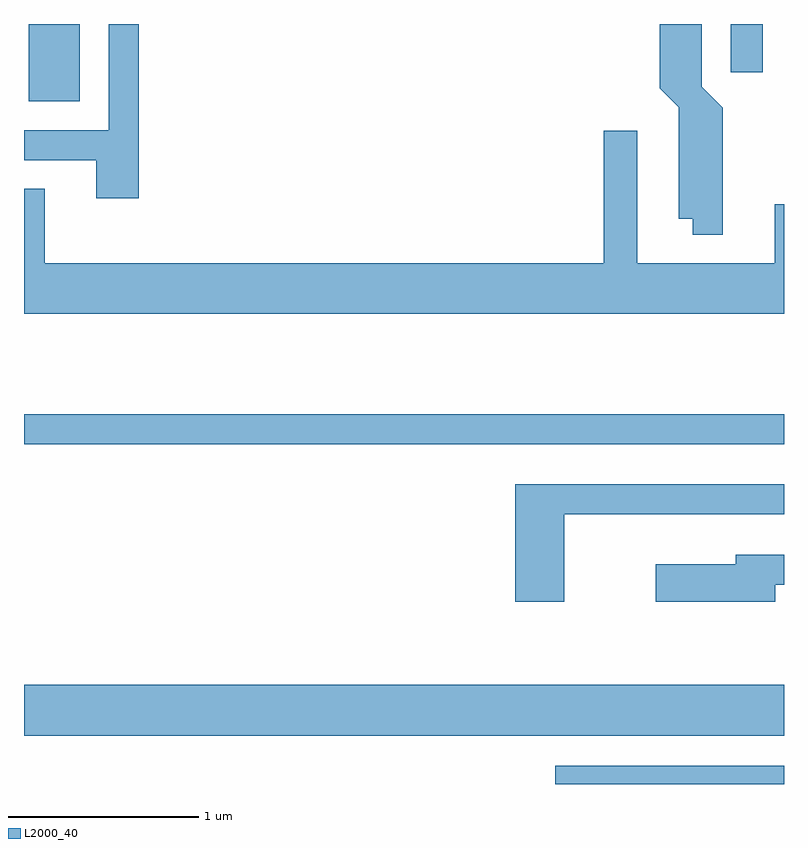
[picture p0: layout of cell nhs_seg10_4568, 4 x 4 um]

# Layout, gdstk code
import gdstk
lib = gdstk.Library(unit=1e-6, precision=1e-09)
def R(c, l, rs):  # rectangles x0, y0, x1, y1
    for r in rs: c.add(gdstk.rectangle(r[:2], r[2:], *l))
def P(c, l, *ps):  # polygons
    for p in ps: c.add(gdstk.Polygon(p, *l))
L2000_40 = (2000, 40)

nhs_seg10_4568 = lib.new_cell('nhs_seg10_4568')
R(nhs_seg10_4568, L2000_40, [(322.408,2142.522,323.611,2142.619), (319.611,2142.776,323.611,2143.044), (319.611,2144.311,323.611,2144.469), (319.636,2146.116,319.904,2146.522), (323.331,2146.268,323.499,2146.522)])
P(nhs_seg10_4568, L2000_40, [(323.289,2146.082),(323.179,2146.192),(323.179,2146.522),(322.956,2146.522),(322.956,2146.184),(323.056,2146.084),(323.056,2145.496),(323.131,2145.496),(323.131,2145.413),(323.289,2145.413)],
  [(320.214,2146.522),(320.056,2146.522),(320.056,2145.964),(319.611,2145.964),(319.611,2145.806),(319.991,2145.806),(319.991,2145.606),(320.214,2145.606)],
  [(323.611,2145.574),(323.561,2145.574),(323.561,2145.264),(322.839,2145.264),(322.839,2145.959),(322.661,2145.959),(322.661,2145.264),(319.719,2145.264),(319.719,2145.654),(319.611,2145.654),(319.611,2144.996),(323.611,2144.996)],
  [(322.454,2143.941),(323.611,2143.941),(323.611,2144.099),(322.196,2144.099),(322.196,2143.481),(322.454,2143.481)],
  [(323.564,2143.571),(323.611,2143.571),(323.611,2143.729),(323.356,2143.729),(323.356,2143.679),(322.936,2143.679),(322.936,2143.481),(323.564,2143.481)])

lib.write_gds('nhs_seg10_4568.gds')
